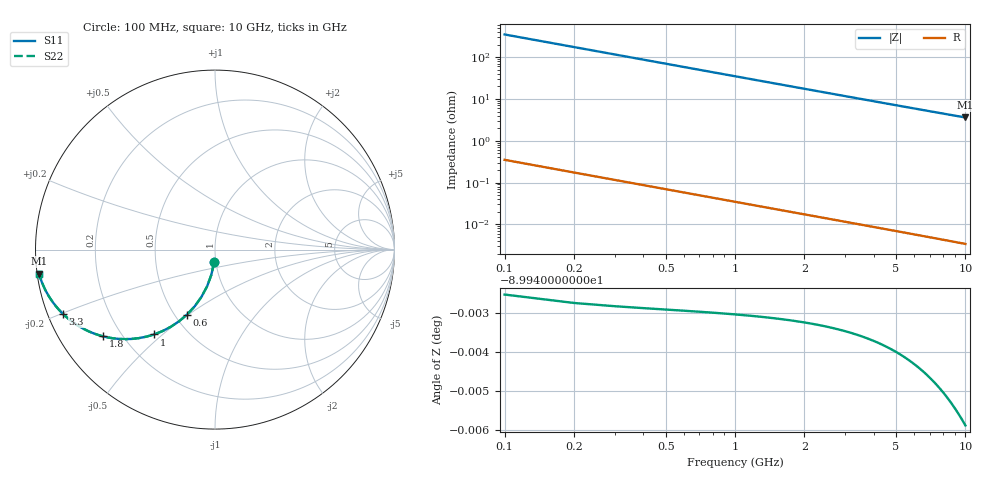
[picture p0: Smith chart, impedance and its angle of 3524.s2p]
# Hz S RI R 50.00
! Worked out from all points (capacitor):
!   100 points, 100 MHz to 10 GHz, reference 50 ohm
!   read as one part in shunt: C = 4.56 pF near 100 MHz
!   lowest |Z| = 3.61 ohm at 10 GHz (marker M1)
!   S11 on the Smith chart (normalised r, x): 100 MHz: 0.98, -0.14; 600 MHz: 0.58, -0.49; 1 GHz: 0.33, -0.47; 1.8 GHz: 0.13, -0.34; 3.3 GHz: 0.04, -0.20; 10 GHz: 0.01, -0.07
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1e8  -0.00518 -0.0713  0.9948 -0.0714  0.9948 -0.0714  -0.00518 -0.0713
2e8  -0.0203 -0.1404  0.9797 -0.1405  0.9797 -0.1405  -0.0203 -0.1404
3e8  -0.0444 -0.2053  0.9556 -0.2055  0.9556 -0.2055  -0.0444 -0.2053
4e8  -0.0761 -0.2646  0.9238 -0.2649  0.9238 -0.2649  -0.0761 -0.2646
5e8  -0.114 -0.3171  0.886 -0.3175  0.886 -0.3175  -0.114 -0.3171
6e8  -0.1562 -0.3623  0.8438 -0.3627  0.8438 -0.3627  -0.1562 -0.3623
7e8  -0.2011 -0.4  0.7989 -0.4006  0.7989 -0.4006  -0.2011 -0.4
8e8  -0.2473 -0.4306  0.7527 -0.4312  0.7527 -0.4312  -0.2473 -0.4306
1e9  -0.3389 -0.4724  0.6611 -0.4732  0.6611 -0.4732  -0.3389 -0.4724
1.3e9  -0.4636 -0.4977  0.5363 -0.4987  0.5363 -0.4987  -0.4636 -0.4977
1.5e9  -0.5348 -0.4977  0.4652 -0.4989  0.4652 -0.4989  -0.5348 -0.4977
1.8e9  -0.623 -0.4834  0.377 -0.4848  0.377 -0.4848  -0.623 -0.4834
2.1e9  -0.6918 -0.4604  0.3082 -0.4621  0.3082 -0.4621  -0.6918 -0.4604
2.5e9  -0.7605 -0.4253  0.2395 -0.4273  0.2395 -0.4273  -0.7605 -0.4253
2.9e9  -0.8101 -0.3906  0.1899 -0.3929  0.1899 -0.3929  -0.8101 -0.3906
3.3e9  -0.8465 -0.3587  0.1535 -0.3613  0.1535 -0.3613  -0.8465 -0.3587
3.4e9  -0.854 -0.3512  0.146 -0.3539  0.146 -0.3539  -0.854 -0.3512
4.2e9  -0.899 -0.2991  0.1009 -0.3024  0.1009 -0.3024  -0.899 -0.2991
5.1e9  -0.9291 -0.2541  0.0709 -0.2582  0.0709 -0.2582  -0.9291 -0.2541
6.7e9  -0.9576 -0.1983  0.0424 -0.2036  0.0424 -0.2036  -0.9576 -0.1983
8.4e9  -0.9726 -0.1593  0.0274 -0.166  0.0274 -0.166  -0.9726 -0.1593
1e10  -0.9806 -0.1335  0.0194 -0.1415  0.0194 -0.1415  -0.9806 -0.1335
